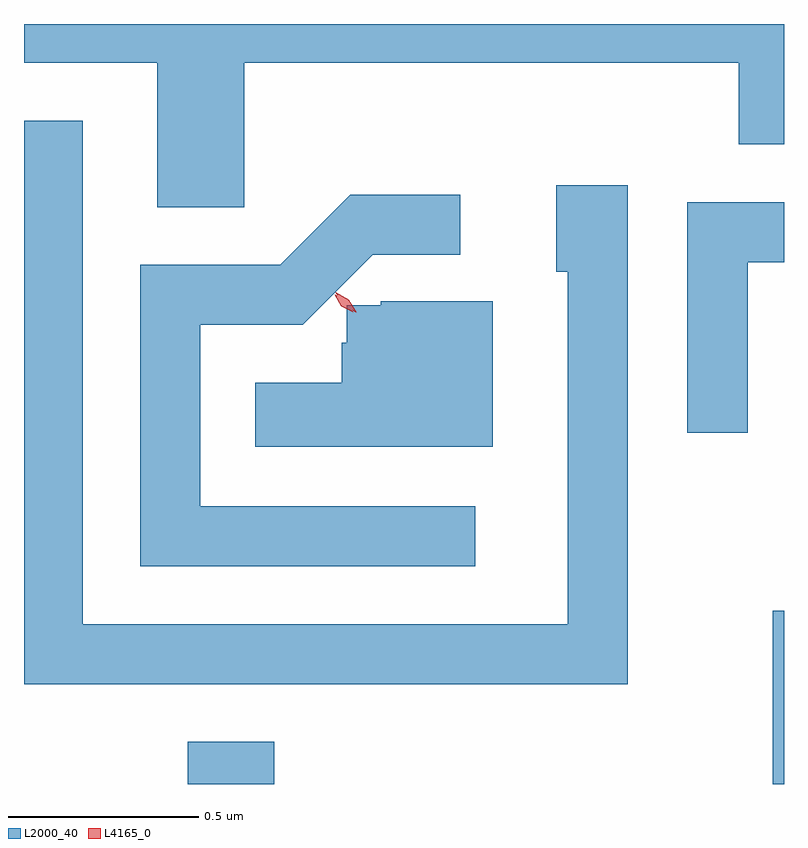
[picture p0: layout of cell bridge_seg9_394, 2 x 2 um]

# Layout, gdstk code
import gdstk
lib = gdstk.Library(unit=1e-6, precision=1e-09)
def R(c, l, rs):  # rectangles x0, y0, x1, y1
    for r in rs: c.add(gdstk.rectangle(r[:2], r[2:], *l))
def P(c, l, *ps):  # polygons
    for p in ps: c.add(gdstk.Polygon(p, *l))
L2000_40 = (2000, 40)
L4165_0 = (4165, 0)

bridge_seg9_394 = lib.new_cell('bridge_seg9_394')
R(bridge_seg9_394, L2000_40, [(981.701,1985.478,981.929,1985.589), (983.241,1985.478,983.27,1985.934)])
P(bridge_seg9_394, L2000_40, [(981.849,1987.376),(983.151,1987.376),(983.151,1987.161),(983.27,1987.161),(983.27,1987.478),(981.27,1987.478),(981.27,1987.376),(981.621,1987.376),(981.621,1986.996),(981.849,1986.996)],
  [(982.859,1987.054),(982.671,1987.054),(982.671,1986.826),(982.701,1986.826),(982.701,1985.899),(981.424,1985.899),(981.424,1987.224),(981.27,1987.224),(981.27,1985.741),(982.859,1985.741)],
  [(982.458,1986.209),(981.734,1986.209),(981.734,1986.686),(982.003,1986.686),(982.188,1986.871),(982.418,1986.871),(982.418,1987.029),(982.129,1987.029),(981.944,1986.844),(981.576,1986.844),(981.576,1986.051),(982.458,1986.051)],
  [(983.174,1986.851),(983.27,1986.851),(983.27,1987.009),(983.016,1987.009),(983.016,1986.403),(983.174,1986.403)],
  [(982.504,1986.749),(982.209,1986.749),(982.209,1986.738),(982.119,1986.738),(982.119,1986.639),(982.106,1986.639),(982.106,1986.534),(981.878,1986.534),(981.878,1986.366),(982.504,1986.366)])
P(bridge_seg9_394, L4165_0, [(982.143,1986.72),(982.11,1986.739),(982.09,1986.771),(982.09,1986.772),(982.091,1986.772),(982.124,1986.753),(982.144,1986.721),(982.144,1986.72)],
  [(982.136,1986.719),(982.105,1986.735),(982.088,1986.765),(982.088,1986.766),(982.089,1986.766),(982.12,1986.75),(982.137,1986.72),(982.137,1986.719)])

lib.write_gds('bridge_seg9_394.gds')
